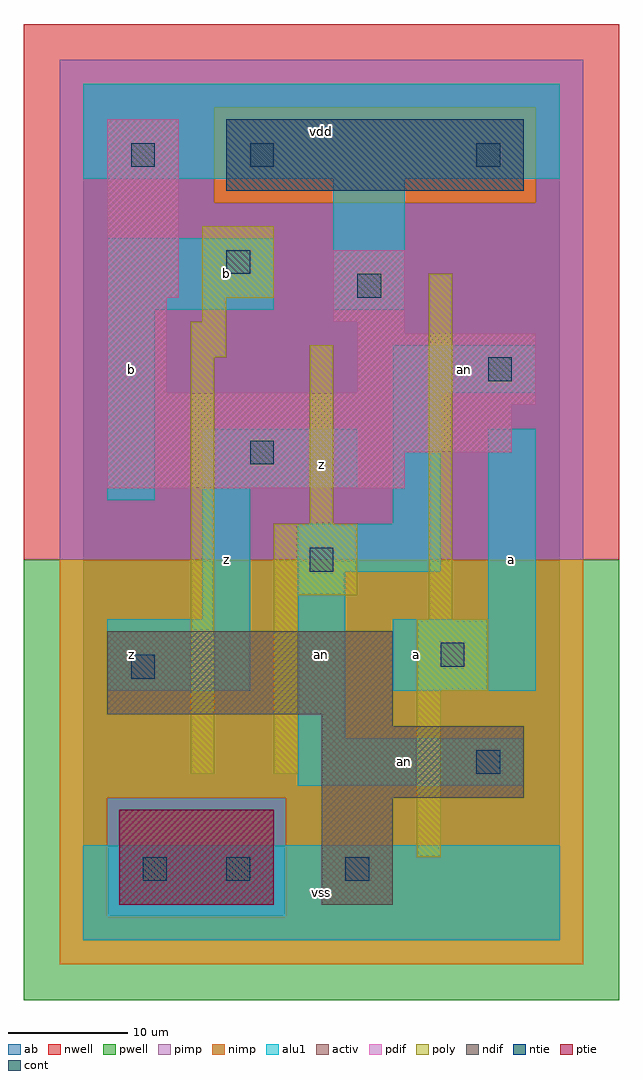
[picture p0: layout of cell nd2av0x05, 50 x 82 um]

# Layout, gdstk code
import gdstk
lib = gdstk.Library(unit=1e-6, precision=1e-09)
def R(c, l, rs):  # rectangles x0, y0, x1, y1
    for r in rs: c.add(gdstk.rectangle(r[:2], r[2:], *l))
ndif = (3, 0)
pdif = (4, 0)
ntie = (5, 0)
ptie = (6, 0)
cont = (25, 0)
pwell = (41, 0)
nwell = (42, 0)
activ = (43, 0)
pimp = (44, 0)
nimp = (45, 0)
poly = (46, 0)
alu1 = (49, 0)
ab = (63, 0)

nd2av0x05 = lib.new_cell('nd2av0x05')
R(nd2av0x05, ndif, [(20,3,26,12), (20,12,37,18), (20,18,26,19), (2,19,26,26)])
R(nd2av0x05, pdif, [(2,38,27,41), (2,41,36,45), (2,45,38,46), (2,46,7,54), (23,46,38,51), (23,51,27,52), (21,52,27,58), (2,54,8,69)])
R(nd2av0x05, ntie, [(12,63,37,69)])
R(nd2av0x05, ptie, [(3,3,16,11)])
R(nd2av0x05, cont, [(5,5,7,7), (12,5,14,7), (22,5,24,7), (33,14,35,16), (4,22,6,24), (30,23,32,25), (19,31,21,33), (14,40,16,42), (34,47,36,49), (23,54,25,56), (12,56,14,58), (4,65,6,67), (14,65,16,67), (33,65,35,67)])
R(nd2av0x05, pwell, [(-5,-5,45,32)])
R(nd2av0x05, nwell, [(-5,32,45,77)])
R(nd2av0x05, activ, [(3,3,16,11), (20,3,26,12), (20,12,37,18), (20,18,26,19), (2,19,26,26), (2,38,27,41), (2,41,36,45), (2,45,38,46), (2,46,7,54), (23,46,38,51), (23,51,27,52), (21,52,27,58), (2,54,8,69), (12,63,37,69)])
R(nd2av0x05, pimp, [(2,2,17,12), (-2,32,42,62), (-2,62,11,70), (38,62,42,70), (-2,70,42,74)])
R(nd2av0x05, nimp, [(-2,-2,42,2), (-2,2,2,12), (17,2,42,12), (-2,12,42,32), (11,62,38,70)])
R(nd2av0x05, poly, [(28,7,30,21), (9,14,11,49), (16,14,18,29), (28,21,34,27), (29,27,31,56), (16,29,23,35), (19,35,21,50), (9,49,12,52), (10,52,12,54), (10,54,16,60)])
R(nd2av0x05, alu1, [(0,0,40,8), (18,13,37,17), (18,17,22,31), (2,21,14,27), (26,21,38,27), (10,27,14,38), (34,27,38,43), (18,31,30,35), (26,35,30,46), (2,37,6,53), (10,38,23,43), (26,46,38,50), (2,53,16,59), (21,53,27,64), (0,64,40,72)])
R(nd2av0x05, ab, [(0,0,40,72)])
nd2av0x05.add(gdstk.Label('an', (20,24), layer=49, texttype=0))
nd2av0x05.add(gdstk.Label('an', (27,15), layer=49, texttype=0))
nd2av0x05.add(gdstk.Label('an', (32,48), layer=49, texttype=0))
nd2av0x05.add(gdstk.Label('z', (4,24), layer=49, texttype=0))
nd2av0x05.add(gdstk.Label('b', (4,48), layer=49, texttype=0))
nd2av0x05.add(gdstk.Label('z', (12,32), layer=49, texttype=0))
nd2av0x05.add(gdstk.Label('b', (12,56), layer=49, texttype=0))
nd2av0x05.add(gdstk.Label('vss', (20,4), layer=49, texttype=0))
nd2av0x05.add(gdstk.Label('a', (28,24), layer=49, texttype=0))
nd2av0x05.add(gdstk.Label('z', (20,40), layer=49, texttype=0))
nd2av0x05.add(gdstk.Label('vdd', (20,68), layer=49, texttype=0))
nd2av0x05.add(gdstk.Label('a', (36,32), layer=49, texttype=0))

lib.write_gds('nd2av0x05.gds')
